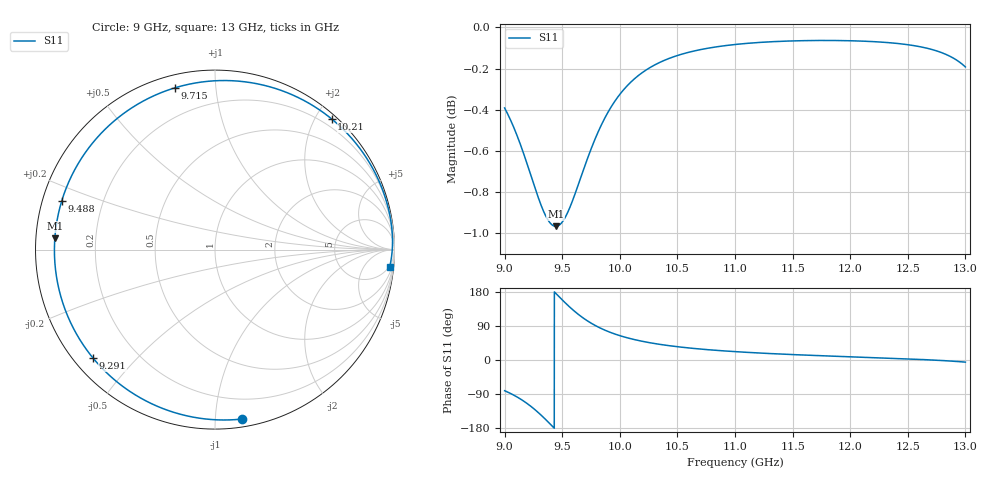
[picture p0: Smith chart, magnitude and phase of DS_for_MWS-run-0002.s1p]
! TOUCHSTONE file generated by CST DESIGN STUDIO
! Date and time: Tue Feb  4 17:06:39 2025
! Project name: C:\Work\MatlabApps\UnitCellOptimizationMatlab\CST\unitcell.cst
! Tree item: Tasks\Sweep1\SPara1\S-Parameters
! Header version: 2024
! Port assignment regex: !\s*Touchstone port\s*([0-9]+)\s*=\s*(CST MWS port|CST DES external port|CST DES block port)\s*(.+)\s* \(\"(.*)\"\)(\s*mode\s*([0-9]+))?.*
! Touchstone port assignment:
! Touchstone port 1 = CST DES external port 1 ("")
# GHz S MA R 50
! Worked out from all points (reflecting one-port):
!   4001 points, 9 GHz to 13 GHz, reference 50 ohm
!   lowest |S11| = -1.0 dB at 9.444 GHz (marker M1), VSWR 17.97, Z = 2.79 + j1.76 ohm
!   phase of S11 starts at -81 deg and turns -285 deg over the sweep
!   S11 on the Smith chart (normalised r, x): 9 GHz: 0.05, -1.17; 9.291 GHz: 0.05, -0.38; 9.488 GHz: 0.06, +0.15; 9.715 GHz: 0.06, +0.78; 10.21 GHz: 0.07, +2.23; 13 GHz: 4, -19
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9  0.9559 -81.0
9.089  0.9441 -94.3
9.162  0.9323 -107.7
9.228  0.9205 -122.3
9.291  0.9093 -138.3
9.372  0.8982 -161.8
9.408  0.8955 -172.8
9.444  0.8946 176.0
9.488  0.8959 162.3
9.5  0.8968 158.7
9.555  0.9026 142.6
9.607  0.9103 128.6
9.659  0.919 116.0
9.715  0.9285 104.0
9.779  0.9385 92.4
9.855  0.9487 80.8
9.925  0.9565 72.1
10  0.9632 64.3
10.101  0.9701 55.7
10.214  0.9758 48.2
10.346  0.9806 41.3
10.5  0.9844 35.1
10.723  0.9879 28.3
11  0.9905 22.1
11.5  0.9925 14.3
12  0.9925 8.5
12.5  0.9903 2.9
13  0.9781 -5.6
